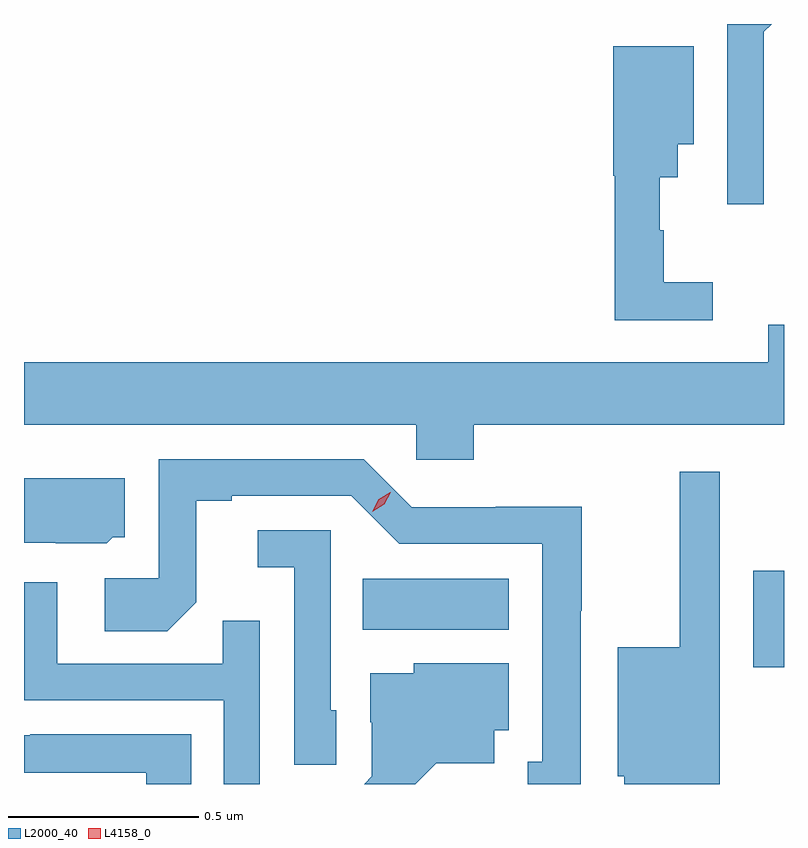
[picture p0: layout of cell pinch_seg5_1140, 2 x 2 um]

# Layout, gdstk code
import gdstk
lib = gdstk.Library(unit=1e-6, precision=1e-09)
def R(c, l, rs):  # rectangles x0, y0, x1, y1
    for r in rs: c.add(gdstk.rectangle(r[:2], r[2:], *l))
def P(c, l, *ps):  # polygons
    for p in ps: c.add(gdstk.Polygon(p, *l))
L2000_40 = (2000, 40)
L4158_0 = (4158, 0)

pinch_seg5_1140 = lib.new_cell('pinch_seg5_1140')
R(pinch_seg5_1140, L2000_40, [(763.991,840.137,764.072,840.391), (762.964,840.236,763.348,840.37)])
P(pinch_seg5_1140, L2000_40, [(764.019,841.809),(764.04,841.83),(763.923,841.83),(763.923,841.356),(764.019,841.356)],
  [(763.885,841.151),(763.756,841.151),(763.756,841.287),(763.745,841.287),(763.745,841.427),(763.792,841.427),(763.792,841.514),(763.834,841.514),(763.834,841.771),(763.622,841.771),(763.622,841.431),(763.627,841.431),(763.627,841.05),(763.885,841.05)],
  [(763.256,840.776),(764.072,840.776),(764.072,841.038),(764.03,841.038),(764.03,840.94),(762.072,840.94),(762.072,840.776),(763.104,840.776),(763.104,840.683),(763.256,840.683)],
  [(763.537,840.286),(763.54,840.286),(763.54,840.56),(763.314,840.56),(763.314,840.558),(763.092,840.558),(762.966,840.684),(762.426,840.684),(762.426,840.372),(762.285,840.372),(762.285,840.232),(762.449,840.232),(762.525,840.308),(762.525,840.576),(762.619,840.576),(762.619,840.588),(762.933,840.588),(763.059,840.462),(763.436,840.462),(763.436,839.889),(763.397,839.889),(763.397,839.83),(763.537,839.83)],
  [(763.903,840.652),(763.797,840.652),(763.797,840.19),(763.634,840.19),(763.634,839.85),(763.652,839.85),(763.652,839.83),(763.903,839.83)],
  [(762.306,840.48),(762.337,840.48),(762.337,840.634),(762.072,840.634),(762.072,840.465),(762.156,840.465),(762.156,840.464),(762.29,840.464)],
  [(762.894,840.024),(762.879,840.024),(762.879,840.498),(762.687,840.498),(762.687,840.401),(762.783,840.401),(762.783,839.881),(762.894,839.881)],
  [(762.693,840.26),(762.595,840.26),(762.595,840.147),(762.159,840.147),(762.159,840.361),(762.072,840.361),(762.072,840.051),(762.597,840.051),(762.597,839.83),(762.693,839.83)],
  [(763.157,839.885),(763.309,839.885),(763.309,839.972),(763.348,839.972),(763.348,840.148),(763.098,840.148),(763.098,840.121),(762.983,840.121),(762.983,839.992),(762.987,839.992),(762.987,839.85),(762.967,839.83),(763.101,839.83)],
  [(762.512,839.961),(762.088,839.961),(762.088,839.958),(762.072,839.958),(762.072,839.86),(762.394,839.86),(762.394,839.83),(762.512,839.83)])
P(pinch_seg5_1140, L4158_0, [(762.989,840.546),(762.989,840.546),(763.005,840.579),(763.036,840.598),(763.037,840.598),(763.037,840.598),(763.02,840.566),(762.989,840.546)])

lib.write_gds('pinch_seg5_1140.gds')
